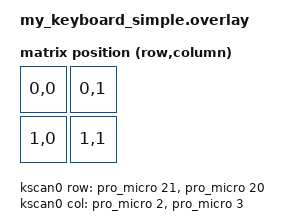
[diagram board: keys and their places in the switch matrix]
#include <dt-bindings/zmk/matrix_transform.h>

/ {
    chosen {
        zmk,kscan = &kscan0;
        zmk,matrix_transform = &default_transform;
    };

    default_transform: keymap_transform_0 {
        compatible = "zmk,matrix-transform";
        columns = <2>;
        rows = <2>;
        map = <
            RC(0,0) RC(0,1)
            RC(1,0) RC(1,1)
        >;
    };

    kscan0: kscan {
        compatible = "zmk,kscan-gpio-matrix";

        diode-direction = "col2row";
        row-gpios = <&pro_micro 21 (GPIO_ACTIVE_HIGH | GPIO_PULL_DOWN)>,
                   <&pro_micro 20 (GPIO_ACTIVE_HIGH | GPIO_PULL_DOWN)>;
        col-gpios = <&pro_micro 2 GPIO_ACTIVE_HIGH>,
                   <&pro_micro 3 GPIO_ACTIVE_HIGH>;
    };
};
